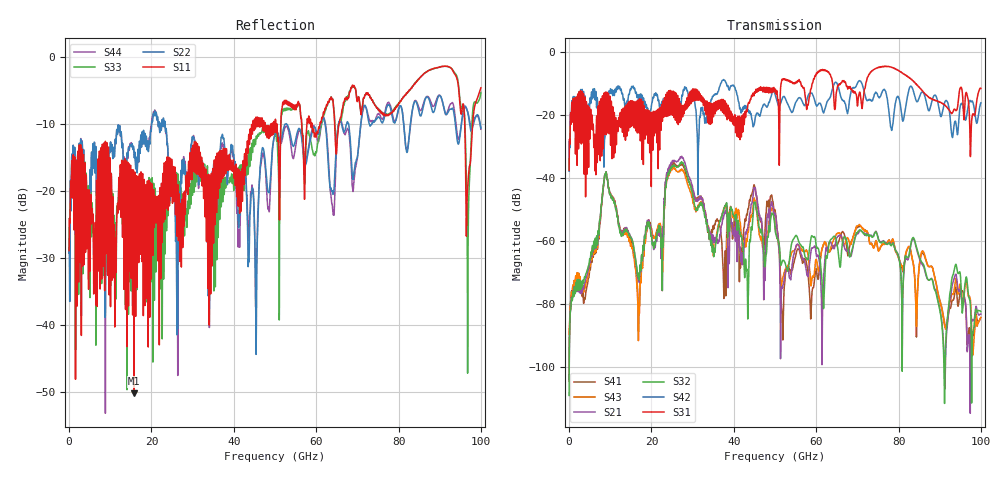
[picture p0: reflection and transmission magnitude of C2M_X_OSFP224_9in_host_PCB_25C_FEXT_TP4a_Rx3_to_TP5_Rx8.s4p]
# GHz S RI R 45
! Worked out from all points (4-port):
!   4000 points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, 25 MHz to 100 GHz, reference 45 ohm
!   strongest paths, dB at 25 MHz, 25.02 GHz, 50.02 GHz, 75.03 GHz, 100 GHz:
!     S31: -37.7, -14.6, -12.1, -5.0, -11.6
!     S42: -38.0, -16.1, -13.6, -14.1, -16.2
!     S32: -109.1, -36.5, -55.8, -59.2, -82.6
!     S21: -104.1, -34.9, -51.4, -59.0, -83.3
!     S43: -89.6, -37.2, -55.5, -62.9, -84.4
!     S41: -104.6, -35.6, -50.5, -62.7, -84.4
!   lowest |S11| = -50.2 dB at 15.8 GHz (marker M1), VSWR 1.01, Z = 44.9 - j0.236 ohm
!   |S11| at or under -10 dB: start of sweep to 44.63 GHz; 59.03 GHz to 60.91 GHz (1.884 GHz wide, 3.14 % of centre); 96.08 GHz to 98 GHz (1.927 GHz wide, 1.99 % of centre)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
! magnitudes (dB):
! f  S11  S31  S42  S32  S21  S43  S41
! 25 MHz  -28.9  -37.7  -38.0  -109.1  -104.1  -89.6  -104.6
! 8.9 GHz  -14.0  -13.7  -22.1  -38.6  -38.7  -38.6  -38.6
! 15.8 GHz  -50.2  -21.1  -11.8  -62.7  -63.0  -65.5  -64.6
! 27.32 GHz  -27.0  -18.4  -14.8  -35.0  -33.2  -37.3  -35.5
! 49.25 GHz  -11.4  -12.8  -13.2  -51.2  -47.8  -49.6  -45.8
! 51.85 GHz  -6.9  -8.9  -14.6  -66.3  -74.9  -72.0  -89.3
! 100 GHz  -4.6  -11.6  -16.2  -82.6  -83.3  -84.4  -84.4
